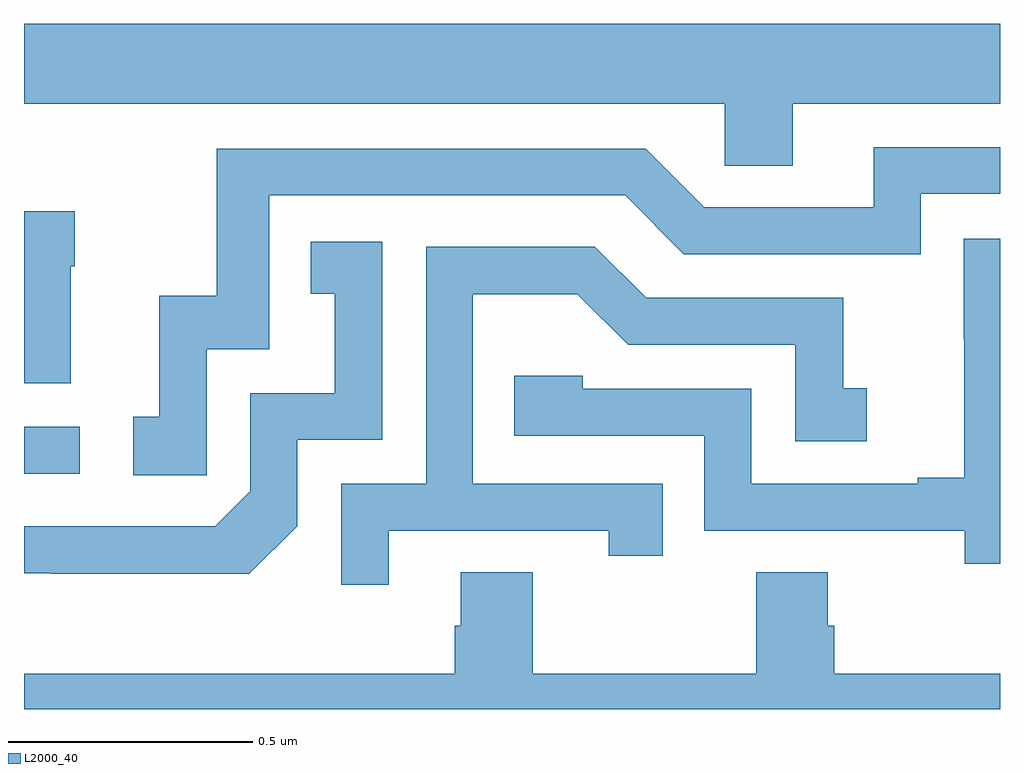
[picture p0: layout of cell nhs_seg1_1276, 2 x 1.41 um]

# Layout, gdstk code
import gdstk
lib = gdstk.Library(unit=1e-6, precision=1e-09)
def R(c, l, rs):  # rectangles x0, y0, x1, y1
    for r in rs: c.add(gdstk.rectangle(r[:2], r[2:], *l))
def P(c, l, *ps):  # polygons
    for p in ps: c.add(gdstk.Polygon(p, *l))
L2000_40 = (2000, 40)

nhs_seg1_1276 = lib.new_cell('nhs_seg1_1276')
R(nhs_seg1_1276, L2000_40, [(127,509.682,127.114,509.778)])
P(nhs_seg1_1276, L2000_40, [(128.575,510.44),(129,510.44),(129,510.604),(127,510.604),(127,510.44),(128.436,510.44),(128.436,510.313),(128.575,510.313)],
  [(127.374,509.937),(127.503,509.937),(127.503,510.252),(128.232,510.252),(128.352,510.132),(128.838,510.132),(128.838,510.255),(129,510.255),(129,510.351),(128.741,510.351),(128.741,510.228),(128.394,510.228),(128.274,510.348),(127.395,510.348),(127.395,510.046),(127.277,510.046),(127.277,509.799),(127.224,509.799),(127.224,509.679),(127.374,509.679)],
  [(127.096,510.107),(127.104,510.107),(127.104,510.22),(127,510.22),(127,509.867),(127.096,509.867)],
  [(129,510.163),(128.926,510.163),(128.926,509.957),(128.927,509.957),(128.927,509.674),(128.831,509.674),(128.831,509.661),(128.49,509.661),(128.49,509.856),(128.145,509.856),(128.145,509.883),(128.005,509.883),(128.005,509.76),(128.394,509.76),(128.394,509.565),(128.928,509.565),(128.928,509.497),(129,509.497)],
  [(127.56,509.574),(127.56,509.751),(127.734,509.751),(127.734,510.157),(127.588,510.157),(127.588,510.051),(127.637,510.051),(127.637,509.847),(127.464,509.847),(127.464,509.646),(127.392,509.574),(127,509.574),(127,509.478),(127.054,509.478),(127.054,509.477),(127.462,509.477)],
  [(127.747,509.565),(128.198,509.565),(128.198,509.514),(128.309,509.514),(128.309,509.661),(127.92,509.661),(127.92,510.05),(128.134,510.05),(128.238,509.946),(128.58,509.946),(128.58,509.748),(128.727,509.748),(128.727,509.857),(128.679,509.857),(128.679,510.042),(128.275,510.042),(128.17,510.147),(127.824,510.147),(127.824,509.661),(127.65,509.661),(127.65,509.454),(127.747,509.454)],
  [(129,509.272),(128.66,509.272),(128.66,509.37),(128.647,509.37),(128.647,509.48),(128.5,509.48),(128.5,509.272),(128.043,509.272),(128.043,509.48),(127.895,509.48),(127.895,509.37),(127.883,509.37),(127.883,509.272),(127,509.272),(127,509.199),(129,509.199)])

lib.write_gds('nhs_seg1_1276.gds')
